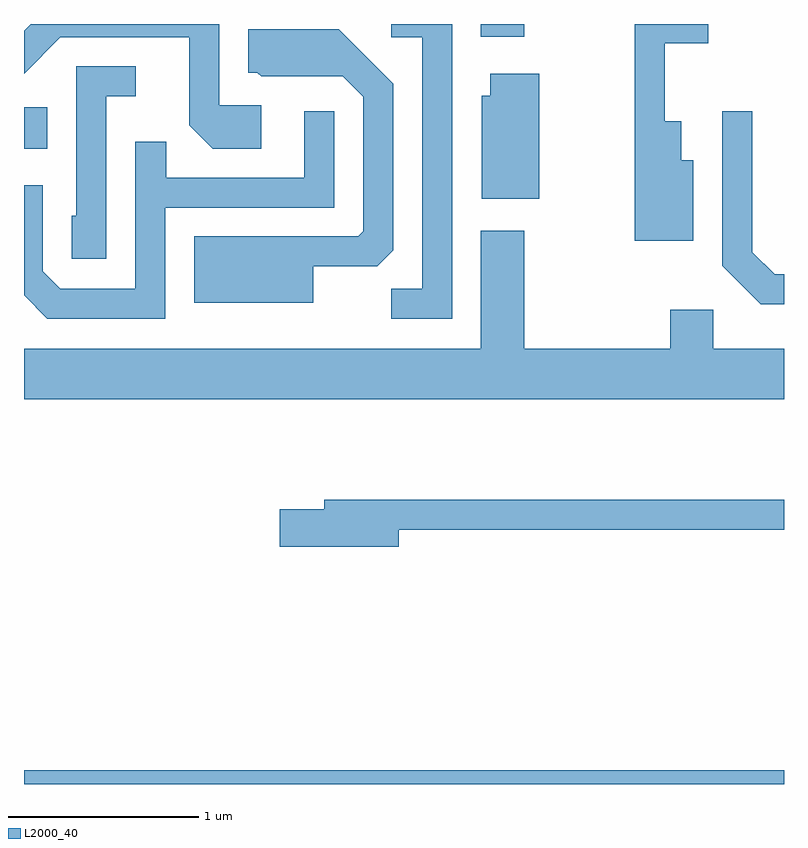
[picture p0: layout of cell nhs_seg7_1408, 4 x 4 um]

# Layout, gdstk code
import gdstk
lib = gdstk.Library(unit=1e-6, precision=1e-09)
def R(c, l, rs):  # rectangles x0, y0, x1, y1
    for r in rs: c.add(gdstk.rectangle(r[:2], r[2:], *l))
def P(c, l, *ps):  # polygons
    for p in ps: c.add(gdstk.Polygon(p, *l))
L2000_40 = (2000, 40)

nhs_seg7_1408 = lib.new_cell('nhs_seg7_1408')
R(nhs_seg7_1408, L2000_40, [(227.611,1752.252,231.611,1752.324), (227.611,1755.596,227.734,1755.814), (230.016,1756.186,230.244,1756.252)])
P(nhs_seg7_1408, L2000_40, [(229.864,1756.252),(229.543,1756.252),(229.543,1756.181),(229.706,1756.181),(229.706,1754.859),(229.543,1754.859),(229.543,1754.701),(229.864,1754.701)],
  [(228.859,1755.824),(228.639,1755.824),(228.639,1756.252),(227.647,1756.252),(227.611,1756.216),(227.611,1755.99),(227.802,1756.181),(228.481,1756.181),(228.481,1755.719),(228.604,1755.596),(228.859,1755.596)],
  [(231.134,1755.534),(231.069,1755.534),(231.069,1755.739),(230.984,1755.739),(230.984,1756.151),(231.213,1756.151),(231.213,1756.252),(230.826,1756.252),(230.826,1755.111),(231.134,1755.111)],
  [(229.134,1754.976),(229.469,1754.976),(229.554,1755.062),(229.554,1755.937),(229.267,1756.224),(228.791,1756.224),(228.791,1755.996),(228.839,1755.996),(228.859,1755.976),(229.289,1755.976),(229.396,1755.869),(229.396,1755.162),(229.369,1755.134),(228.506,1755.134),(228.506,1754.786),(229.134,1754.786)],
  [(228.044,1755.871),(228.198,1755.871),(228.198,1756.029),(227.886,1756.029),(227.886,1755.244),(227.861,1755.244),(227.861,1755.016),(228.044,1755.016)],
  [(230.324,1755.989),(230.066,1755.989),(230.066,1755.874),(230.021,1755.874),(230.021,1755.331),(230.324,1755.331)],
  [(231.611,1754.934),(231.562,1754.934),(231.444,1755.052),(231.444,1755.793),(231.286,1755.793),(231.286,1754.979),(231.489,1754.776),(231.611,1754.776)],
  [(228.354,1755.286),(229.244,1755.286),(229.244,1755.793),(229.086,1755.793),(229.086,1755.444),(228.359,1755.444),(228.359,1755.633),(228.196,1755.633),(228.196,1754.859),(227.802,1754.859),(227.709,1754.952),(227.709,1755.404),(227.611,1755.404),(227.611,1754.824),(227.734,1754.701),(228.354,1754.701)],
  [(231.611,1754.544),(231.239,1754.544),(231.239,1754.749),(231.011,1754.749),(231.011,1754.544),(230.244,1754.544),(230.244,1755.164),(230.016,1755.164),(230.016,1754.544),(227.611,1754.544),(227.611,1754.276),(231.611,1754.276)],
  [(229.584,1753.591),(231.611,1753.591),(231.611,1753.749),(229.191,1753.749),(229.191,1753.699),(228.956,1753.699),(228.956,1753.501),(229.584,1753.501)])

lib.write_gds('nhs_seg7_1408.gds')
